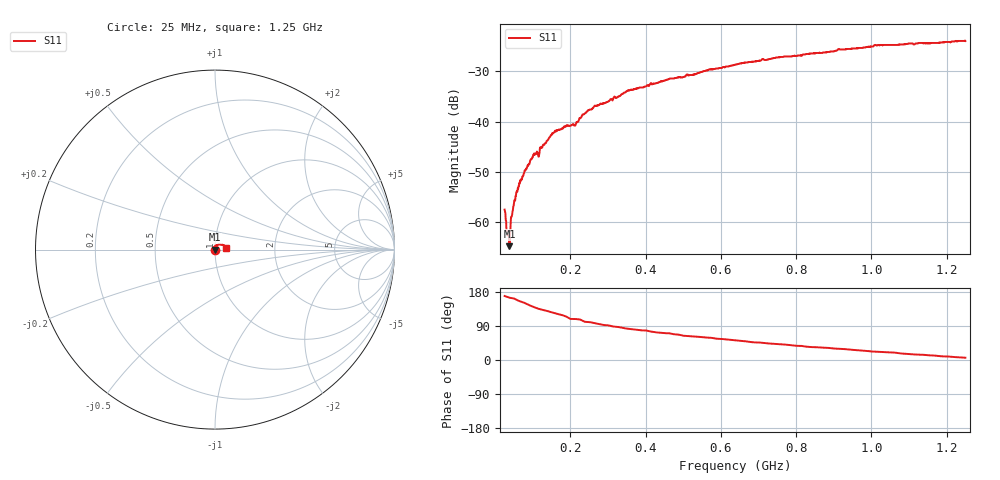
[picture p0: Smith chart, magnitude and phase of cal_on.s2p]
!Created with skrf (http://scikit-rf.org).
# Hz S RI R 50.0
!freq ReS11 ImS11 ReS21 ImS21 ReS12 ImS12 ReS22 ImS22
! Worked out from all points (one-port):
!   1226 points, 25 MHz to 1.25 GHz, reference 50 ohm
!   lowest |S11| = -64.9 dB at 38 MHz (marker M1), VSWR 1.00, Z = 49.9 + j0.0153 ohm
!   |S11| at or under -10 dB: start of sweep to end of sweep
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2.5e7  -0.00129 0.000254  0 0  0 0  0 0
3.4e7  -0.000779 0.000198  0 0  0 0  0 0
3.8e7  -0.000548 0.000153  0 0  0 0  0 0
4.2e7  -0.00106 0.000311  0 0  0 0  0 0
4.8e7  -0.00135 0.000421  0 0  0 0  0 0
6e7  -0.00199 0.000835  0 0  0 0  0 0
7.4e7  -0.00252 0.00133  0 0  0 0  0 0
9.9e7  -0.00344 0.00277  0 0  0 0  0 0
1.07e8  -0.00356 0.0032  0 0  0 0  0 0
1.12e8  -0.00345 0.00331  0 0  0 0  0 0
1.54e8  -0.00437 0.00631  0 0  0 0  0 0
1.87e8  -0.00386 0.00815  0 0  0 0  0 0
2.15e8  -0.00296 0.00908  0 0  0 0  0 0
2.3e8  -0.00288 0.011  0 0  0 0  0 0
2.67e8  -0.00167 0.0142  0 0  0 0  0 0
3.26e8  0.00083 0.0176  0 0  0 0  0 0
3.53e8  0.00269 0.0202  0 0  0 0  0 0
4.34e8  0.00745 0.0234  0 0  0 0  0 0
6.38e8  0.0229 0.0293  0 0  0 0  0 0
8.42e8  0.0396 0.0268  0 0  0 0  0 0
1.046e9  0.0547 0.0198  0 0  0 0  0 0
1.25e9  0.0635 0.00675  0 0  0 0  0 0
